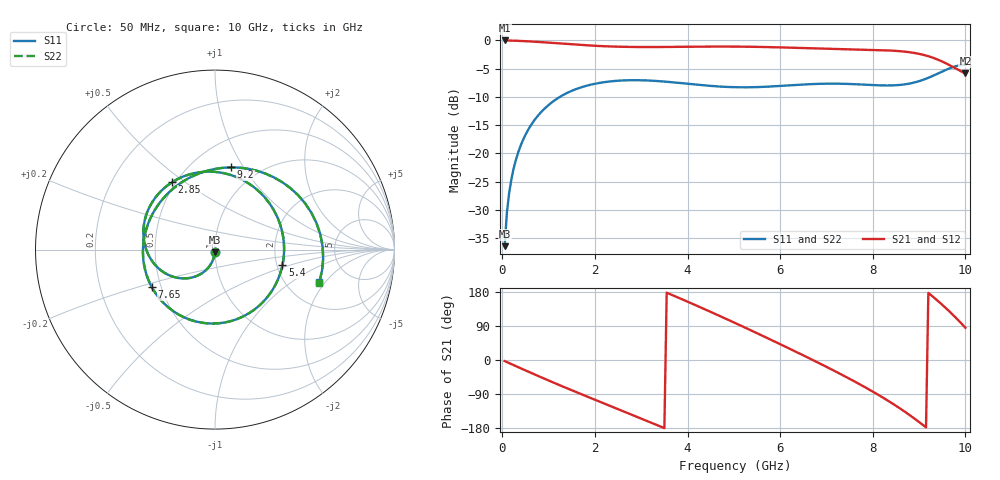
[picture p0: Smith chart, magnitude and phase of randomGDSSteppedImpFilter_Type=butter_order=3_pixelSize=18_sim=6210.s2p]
! freq	dB(S11)	phase(S11)	dB(S12)	phase(S12)
!  dB(S21)	phase(S21)	dB(S22)	phase(S22)
!S-par simulation data
#  GHz  S  DB  R 50
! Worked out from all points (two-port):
!   200 points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, 50 MHz to 10 GHz, reference 50 ohm
!   highest |S21| = 0.00 dB at 50 MHz (marker M1); lowest = -5.8 dB at 10 GHz (marker M2)
!   |S21| within 3 dB of the highest: start of sweep to 9.279 GHz
!   lowest |S11| = -36.4 dB at 50 MHz (marker M3), VSWR 1.03, Z = 49.9 - j1.51 ohm
!   |S11| at or under -10 dB: start of sweep to 1.24 GHz
!   |S22| runs from -36.4 to -4.3 dB; largest |S21 - S12| = 0
!   S11 on the Smith chart (normalised r, x): 50 MHz: 1.00, -0.03; 2.85 GHz: 0.48, +0.45; 5.4 GHz: 2.14, -0.44; 7.65 GHz: 0.44, -0.22; 9.2 GHz: 0.75, +0.88; 10 GHz: 3.02, -1.74
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0.05  -36.40 -92.6  -0.00 -2.8  -0.00 -2.8  -36.40 -92.6
0.1  -30.39 -95.6  -0.01 -5.6  -0.01 -5.6  -30.39 -95.6
0.2  -24.41 -101.3  -0.03 -11.1  -0.03 -11.1  -24.41 -101.3
0.5  -16.70 -118.1  -0.13 -27.4  -0.13 -27.4  -16.70 -118.1
1.1  -10.77 -149.9  -0.45 -59.3  -0.45 -59.3  -10.77 -149.9
1.75  -8.18 176.9  -0.83 -92.3  -0.83 -92.3  -8.18 177.0
2.3  -7.28 149.8  -1.06 -119.5  -1.06 -119.5  -7.28 149.9
2.85  -7.03 122.6  -1.16 -146.8  -1.16 -146.8  -7.03 122.7
3.4  -7.21 94.8  -1.16 -174.6  -1.16 -174.6  -7.21 95.1
4.15  -7.78 55.6  -1.11 145.9  -1.11 145.9  -7.78 56.0
5.05  -8.28 6.6  -1.09 96.4  -1.09 96.4  -8.28 7.1
5.4  -8.28 -13.1  -1.12 76.5  -1.12 76.5  -8.28 -12.5
6.1  -8.00 -53.2  -1.25 35.9  -1.25 35.9  -8.00 -52.6
6.7  -7.72 -88.7  -1.40 0.3  -1.40 0.3  -7.72 -88.1
7.15  -7.64 -116.4  -1.50 -27.4  -1.50 -27.4  -7.64 -115.9
7.65  -7.75 -149.1  -1.60 -59.5  -1.60 -59.5  -7.76 -148.6
8  -7.90 -174.0  -1.67 -83.4  -1.67 -83.4  -7.90 -173.5
8.35  -7.96 158.9  -1.77 -109.0  -1.77 -109.0  -7.97 159.2
8.85  -7.53 114.4  -2.15 -150.1  -2.15 -150.1  -7.54 114.6
9.2  -6.61 78.8  -2.79 177.1  -2.79 177.1  -6.62 78.8
9.65  -4.96 27.0  -4.34 128.8  -4.34 128.8  -4.96 26.8
10  -4.31 -17.3  -5.84 85.0  -5.84 85.0  -4.30 -17.5
